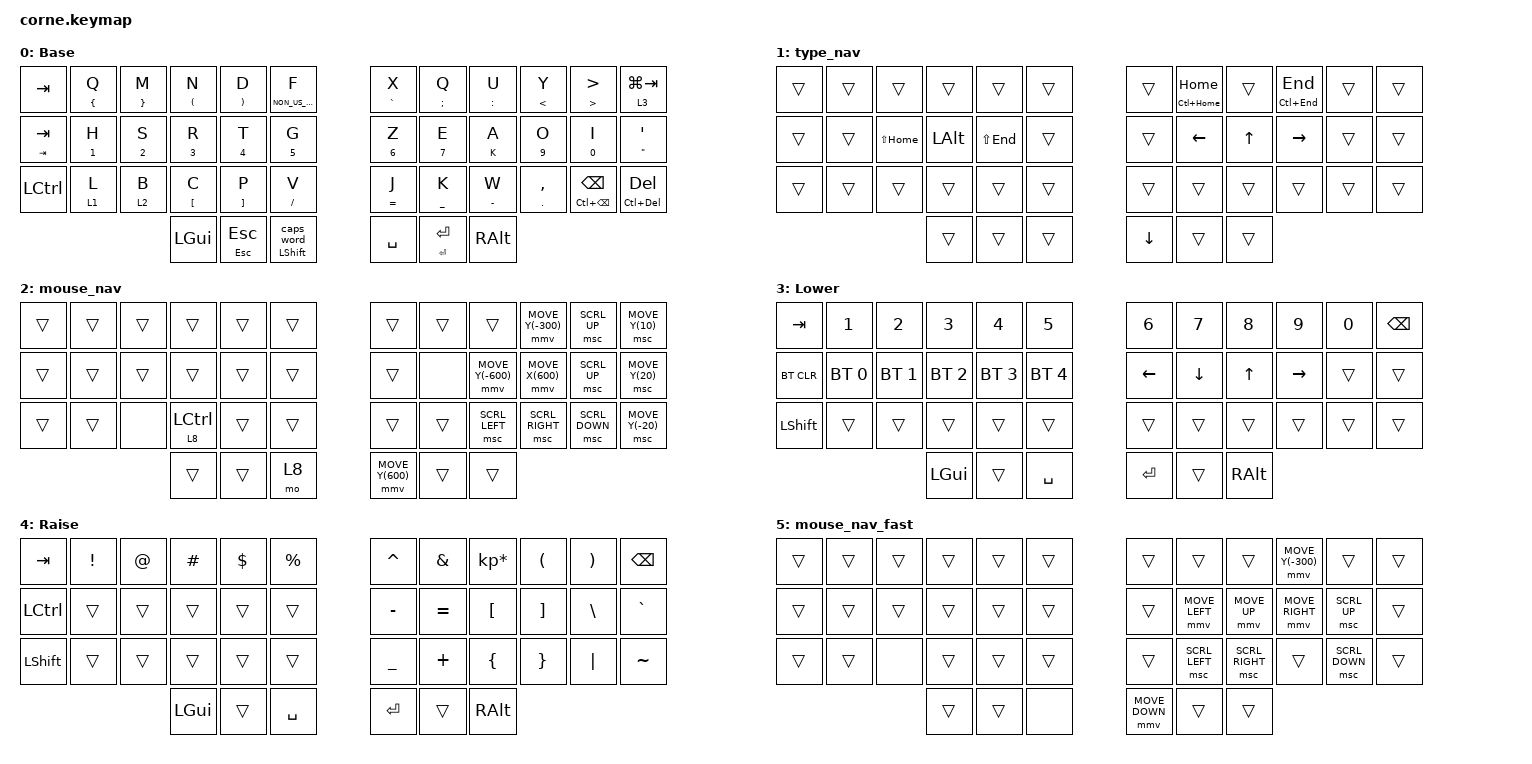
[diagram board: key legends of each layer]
/*
 * Copyright (c) 2020 The ZMK Contributors
 *
 * SPDX-License-Identifier: MIT
 */

#define ZMK_POINTING_DEFAULT_MOVE_VAL 1500  // default: 600
#define ZMK_POINTING_DEFAULT_SCRL_VAL 20

#include <behaviors.dtsi>
#include <dt-bindings/zmk/bt.h>
#include <dt-bindings/zmk/keys.h>
#include <dt-bindings/zmk/pointing.h>

/ {
    combos {
        compatible = "zmk,combos";

        up_right {
            bindings = <&kp KP_NUMBER_9>;
            key-positions = <21 8>;
        };

        up_left {
            bindings = <&kp KP_N7>;
            key-positions = <19 8>;
        };

        down_left {
            bindings = <&kp KP_N1>;
            key-positions = <39 18>;
        };

        down_right {
            bindings = <&kp KP_N3>;
            key-positions = <39 22>;
        };
    };

    behaviors {
        hold_tap_150: hold_tap_150 {
            compatible = "zmk,behavior-hold-tap";
            label = "HOLD_TAP_150";
            bindings = <&kp>, <&kp>;

            #binding-cells = <2>;
            tapping-term-ms = <150>;
            flavor = "tap-preferred";
        };

        caps_word_shift: caps_word_shift {
            compatible = "zmk,behavior-hold-tap";
            label = "CAPS_WORD_SHIFT";
            bindings = <&kp>, <&caps_word>;

            #binding-cells = <2>;
            tapping-term-ms = <150>;
            flavor = "tap-preferred";
        };

        layer_tap_150: layer_tap_150 {
            compatible = "zmk,behavior-hold-tap";
            label = "LAYER_TAP_150";
            bindings = <&mo>, <&kp>;

            #binding-cells = <2>;
            tapping-term-ms = <150>;
            flavor = "tap-preferred";
        };

        new_behavior: new_behavior {
            compatible = "zmk,behavior-input-two-axis";
            label = "NEW_BEHAVIOR";
            #binding-cells = <1>;
            x-input-code = <20>;
            y-input-code = <0>;
            trigger-period-ms = <0>;
            time-to-max-speed-ms = <100>;
            acceleration-exponent = <2>;
        };
    };

    macros {
        double_mouse: double_mouse {
            compatible = "zmk,behavior-macro";
            #binding-cells = <0>;
            bindings = <&none>, <&macro_press>, <&mmv MOVE_UP>;

            label = "DOUBLE_MOUSE";
        };
    };

    keymap {
        compatible = "zmk,keymap";

        default_layer {
            // -----------------------------------------------------------------------------------------
            // |  TAB |  Q  |  W  |  E  |  R  |  T  |   |  Y  |  U   |  I  |  O  |  P  | BKSP |
            // | CTRL |  A  |  S  |  D  |  F  |  G  |   |  H  |  J   |  K  |  L  |  ;  |  '   |
            // | SHFT |  Z  |  X  |  C  |  V  |  B  |   |  N  |  M   |  ,  |  .  |  /  | ESC  |
            //                    | GUI | LWR | SPC |   | ENT | RSE  | ALT |

            display-name = "Base";
            bindings = <
&kp TAB                &hold_tap_150 LEFT_BRACE Q  &hold_tap_150 RIGHT_BRACE M  &hold_tap_150 LEFT_PARENTHESIS N  &hold_tap_150 RIGHT_PARENTHESIS D  &hold_tap_150 NON_US_BACKSLASH F    &hold_tap_150 GRAVE X     &hold_tap_150 SEMICOLON Q   &hold_tap_150 COLON U  &hold_tap_150 LESS_THAN Y   &hold_tap_150 GREATER_THAN GREATER_THAN  &layer_tap_150 3 LG(TAB)
&hold_tap_150 TAB TAB  &hold_tap_150 NUMBER_1 H    &hold_tap_150 NUMBER_2 S     &hold_tap_150 NUMBER_3 R          &hold_tap_150 NUMBER_4 T           &hold_tap_150 N5 G                  &hold_tap_150 NUMBER_6 Z  &hold_tap_150 N7 E          &hold_tap_150 K A      &hold_tap_150 N9 O          &hold_tap_150 N0 I                       &hold_tap_150 DOUBLE_QUOTES APOS
&kp LEFT_CONTROL       &layer_tap_150 1 L          &layer_tap_150 2 B           &hold_tap_150 LEFT_BRACKET C      &hold_tap_150 RIGHT_BRACKET P      &hold_tap_150 SLASH V               &hold_tap_150 EQUAL J     &hold_tap_150 UNDERSCORE K  &hold_tap_150 MINUS W  &hold_tap_150 PERIOD COMMA  &hold_tap_150 LC(BACKSPACE) BACKSPACE    &hold_tap_150 LC(DELETE) DEL
                                                                                &kp LGUI                          &hold_tap_150 ESCAPE ESCAPE        &caps_word_shift LEFT_SHIFT 0       &kp SPACE                 &hold_tap_150 RET RET       &kp RALT
            >;
        };

        type_nav {
            bindings = <
&trans  &trans  &trans        &trans    &trans       &trans    &trans          &hold_tap_150 LC(HOME) HOME  &trans  &hold_tap_150 LC(END) END  &trans  &trans
&trans  &trans  &kp LS(HOME)  &kp LALT  &kp LS(END)  &trans    &trans          &kp LEFT                     &kp UP  &kp RIGHT                  &trans  &trans
&trans  &trans  &trans        &trans    &trans       &trans    &trans          &trans                       &trans  &trans                     &trans  &trans
                              &trans    &trans       &trans    &kp DOWN_ARROW  &trans                       &trans
            >;
        };

        mouse_nav {
            bindings = <
&trans  &trans  &trans  &trans                  &trans  &trans    &trans            &trans  &trans             &mmv MOVE_Y(-300)  &msc SCRL_UP    &msc MOVE_Y(10)
&trans  &trans  &trans  &trans                  &trans  &trans    &trans            &none   &mmv MOVE_Y(-600)  &mmv MOVE_X(600)   &msc SCRL_UP    &msc MOVE_Y(20)
&trans  &trans  &none   &layer_tap_150 8 LCTRL  &trans  &trans    &trans            &trans  &msc SCRL_LEFT     &msc SCRL_RIGHT    &msc SCRL_DOWN  &msc MOVE_Y(-20)
                        &trans                  &trans  &mo 8     &mmv MOVE_Y(600)  &trans  &trans
            >;
        };

        lower_layer {
            // -----------------------------------------------------------------------------------------
            // |  TAB |  1  |  2  |  3  |  4  |  5  |   |  6  |  7  |  8  |  9  |  0  | BKSP |
            // | BTCLR| BT1 | BT2 | BT3 | BT4 | BT5 |   | LFT | DWN |  UP | RGT |     |      |
            // | SHFT |     |     |     |     |     |   |     |     |     |     |     |      |
            //                    | GUI |     | SPC |   | ENT |     | ALT |

            display-name = "Lower";
            bindings = <
&kp TAB     &kp N1        &kp N2        &kp N3        &kp N4        &kp N5          &kp N6    &kp N7    &kp N8    &kp N9     &kp N0  &kp BSPC
&bt BT_CLR  &bt BT_SEL 0  &bt BT_SEL 1  &bt BT_SEL 2  &bt BT_SEL 3  &bt BT_SEL 4    &kp LEFT  &kp DOWN  &kp UP    &kp RIGHT  &trans  &trans
&kp LSHFT   &trans        &trans        &trans        &trans        &trans          &trans    &trans    &trans    &trans     &trans  &trans
                                        &kp LGUI      &trans        &kp SPACE       &kp RET   &trans    &kp RALT
            >;
        };

        raise_layer {
            // -----------------------------------------------------------------------------------------
            // |  TAB |  !  |  @  |  #  |  $  |  %  |   |  ^  |  &  |  *  |  (  |  )  | BKSP |
            // | CTRL |     |     |     |     |     |   |  -  |  =  |  [  |  ]  |  \  |  `   |
            // | SHFT |     |     |     |     |     |   |  _  |  +  |  {  |  }  | "|" |  ~   |
            //                    | GUI |     | SPC |   | ENT |     | ALT |

            display-name = "Raise";
            bindings = <
&kp TAB    &kp EXCL  &kp AT  &kp HASH  &kp DLLR  &kp PRCNT    &kp CARET  &kp AMPS   &kp KP_MULTIPLY  &kp LPAR  &kp RPAR  &kp BSPC
&kp LCTRL  &trans    &trans  &trans    &trans    &trans       &kp MINUS  &kp EQUAL  &kp LBKT         &kp RBKT  &kp BSLH  &kp GRAVE
&kp LSHFT  &trans    &trans  &trans    &trans    &trans       &kp UNDER  &kp PLUS   &kp LBRC         &kp RBRC  &kp PIPE  &kp TILDE
                             &kp LGUI  &trans    &kp SPACE    &kp RET    &trans     &kp RALT
            >;
        };

        extra_1 { status = "reserved"; };

        extra_2 { status = "reserved"; };

        extra_3 { status = "reserved"; };

        mouse_nav_fast {
            bindings = <
&trans  &trans  &trans  &trans  &trans  &trans    &trans          &trans          &trans           &mmv MOVE_Y(-300)  &trans          &trans
&trans  &trans  &trans  &trans  &trans  &trans    &trans          &mmv MOVE_LEFT  &mmv MOVE_UP     &mmv MOVE_RIGHT    &msc SCRL_UP    &trans
&trans  &trans  &none   &trans  &trans  &trans    &trans          &msc SCRL_LEFT  &msc SCRL_RIGHT  &trans             &msc SCRL_DOWN  &trans
                        &trans  &trans  &none     &mmv MOVE_DOWN  &trans          &trans
            >;
        };
    };
};
